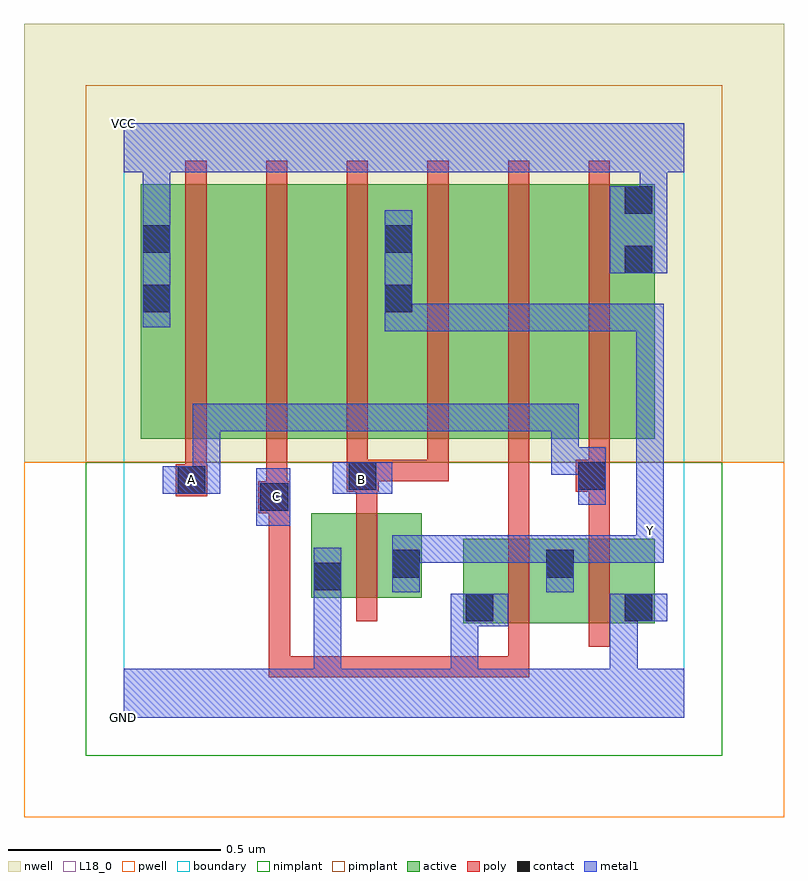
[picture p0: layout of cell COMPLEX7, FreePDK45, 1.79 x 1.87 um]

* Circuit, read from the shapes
.subckt COMPLEX7 A B C GND VCC Y
M1 Y B GND VSUBS nfet w=0.2u l=0.05u
M2 Y C GND VSUBS nfet w=0.2u l=0.05u
M3 GND A Y VSUBS nfet w=0.2u l=0.05u
M4 n1 A VCC n2 pfet w=0.6u l=0.05u
M5 n3 C n1 n2 pfet w=0.6u l=0.05u
M6 Y B n3 n2 pfet w=0.6u l=0.05u
M7 n4 B Y n2 pfet w=0.6u l=0.05u
M8 n5 C n4 n2 pfet w=0.6u l=0.05u
M9 VCC A n5 n2 pfet w=0.6u l=0.05u
.ends

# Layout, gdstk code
import gdstk
lib = gdstk.Library(unit=1e-6, precision=1e-09)
def R(c, l, rs):  # rectangles x0, y0, x1, y1
    for r in rs: c.add(gdstk.rectangle(r[:2], r[2:], *l))
def A(c, l, x, y, w, h, nx, ny, dx, dy):  # array of equal rectangles
    R(c, l, [(x+i*dx, y+j*dy, x+i*dx+w, y+j*dy+h) for i in range(nx) for j in range(ny)])
active = (1, 0)
pwell = (2, 0)
nwell = (3, 0)
nimplant = (4, 0)
pimplant = (5, 0)
poly = (9, 0)
contact = (10, 0)
metal1 = (11, 0)
L18_0 = (18, 0)
boundary = (235, 0)

complex7 = lib.new_cell('COMPLEX7')
R(complex7, active, [(0.8,0.222,0.875,0.422), (0.8,0.222,1.065,0.422), (0.99,0.222,1.25,0.422), (0.99,0.222,1.065,0.4), (1.175,0.222,1.25,0.422), (0.442,0.282,0.517,0.482), (0.442,0.282,0.702,0.482), (0.627,0.282,0.702,0.482), (0.04,0.657,0.115,1.257), (0.04,0.657,0.265,1.257), (0.265,0.657,0.455,1.257), (0.455,0.657,0.685,1.257), (0.61,0.657,0.835,1.257), (0.835,0.657,1.025,1.257), (1.025,0.657,1.25,1.257), (1.175,0.657,1.25,1.257), (0.61,0.707,0.685,1.2)])
R(complex7, pwell, [(-0.235,-0.235,1.555,0.602)])
R(complex7, nwell, [(-0.235,0.602,1.555,1.635)])
R(complex7, nimplant, [(-0.09,-0.09,1.41,0.602)])
R(complex7, pimplant, [(-0.09,0.602,1.41,1.49)])
A(complex7, poly, 0.525, 0.557, 0.05, 0.095, 4, 1, 0.19, 0)
A(complex7, poly, 0.145, 0.602, 0.05, 0.71, 6, 1, 0.19, 0)
R(complex7, poly, [(0.342,0.095,0.392,0.145), (0.342,0.095,0.392,0.145), (0.342,0.095,0.392,0.145), (0.342,0.095,0.392,0.145), (0.342,0.095,0.392,0.145), (0.342,0.095,0.525,0.145), (0.342,0.095,0.392,0.532), (0.475,0.095,0.525,0.145), (0.475,0.095,0.525,0.145), (0.475,0.095,0.525,0.145), (0.475,0.095,0.822,0.145), (0.772,0.095,0.822,0.145), (0.772,0.095,0.955,0.145), (0.905,0.095,0.955,0.145), (0.905,0.095,0.955,0.145), (0.905,0.095,0.955,0.145), (0.905,0.095,0.955,0.217), (0.905,0.167,0.955,0.477), (1.095,0.167,1.145,0.477), (0.547,0.227,0.597,0.537), (0.905,0.427,0.955,0.607), (1.095,0.427,1.145,0.582), (0.317,0.482,0.392,0.557), (0.342,0.482,0.392,0.532), (0.342,0.482,0.392,0.532), (0.547,0.487,0.597,0.582), (0.335,0.507,0.385,0.652), (0.122,0.522,0.197,0.597), (0.525,0.532,0.6,0.607), (1.065,0.532,1.145,0.607), (0.145,0.547,0.195,0.652), (0.55,0.557,0.6,0.607), (0.55,0.557,0.6,0.607), (0.55,0.557,0.765,0.607), (0.715,0.557,0.765,0.607), (0.905,0.557,0.955,0.607)])
R(complex7, contact, [(0.805,0.227,0.87,0.292), (1.18,0.227,1.245,0.292), (0.447,0.3,0.512,0.365), (0.632,0.33,0.697,0.395), (0.995,0.33,1.06,0.395), (0.322,0.487,0.387,0.552), (0.127,0.527,0.192,0.592), (0.53,0.537,0.595,0.602), (1.07,0.537,1.135,0.602), (0.045,0.955,0.11,1.02), (0.615,0.955,0.68,1.02), (1.18,1.047,1.245,1.112), (0.045,1.095,0.11,1.16), (0.615,1.095,0.68,1.16), (1.18,1.187,1.245,1.252)])
R(complex7, metal1, [(0,0,1.32,0.115), (0.447,0.05,0.512,0.115), (0.447,0.05,0.512,0.115), (0.447,0.05,0.512,0.115), (0.447,0.05,0.512,0.115), (0.447,0.05,0.512,0.33), (0.77,0.05,0.835,0.115), (0.77,0.05,0.835,0.115), (0.77,0.05,0.835,0.28), (1.145,0.05,1.21,0.115), (1.145,0.05,1.21,0.115), (1.145,0.05,1.21,0.292), (0.77,0.215,0.835,0.28), (0.77,0.215,0.835,0.28), (0.77,0.215,0.905,0.292), (1.145,0.227,1.21,0.292), (1.145,0.227,1.21,0.292), (1.145,0.227,1.28,0.292), (0.447,0.265,0.512,0.4), (0.632,0.295,0.697,0.43), (0.995,0.295,1.06,0.43), (0.632,0.365,0.697,0.43), (0.632,0.365,0.697,0.43), (0.632,0.365,0.922,0.43), (0.857,0.365,0.922,0.43), (0.857,0.365,0.922,0.43), (0.857,0.365,0.922,0.43), (0.857,0.365,1.06,0.43), (0.995,0.365,1.272,0.43), (1.207,0.365,1.272,0.43), (1.207,0.365,1.272,0.43), (1.207,0.365,1.272,0.437), (1.207,0.372,1.272,0.437), (1.207,0.372,1.272,0.507), (1.207,0.442,1.272,0.975), (0.312,0.452,0.392,0.587), (1.07,0.502,1.135,0.637), (0.092,0.527,0.227,0.592), (0.162,0.527,0.227,0.592), (0.162,0.527,0.227,0.592), (0.162,0.527,0.227,0.74), (0.492,0.527,0.632,0.602), (1.007,0.572,1.072,0.637), (1.007,0.572,1.135,0.637), (1.007,0.572,1.072,0.74), (0.162,0.675,0.227,0.74), (0.162,0.675,0.365,0.74), (0.3,0.675,0.365,0.74), (0.3,0.675,0.365,0.74), (0.3,0.675,0.365,0.74), (0.3,0.675,0.502,0.74), (0.437,0.675,0.502,0.74), (0.437,0.675,0.65,0.74), (0.585,0.675,0.65,0.74), (0.585,0.675,0.65,0.74), (0.585,0.675,0.65,0.74), (0.585,0.675,0.922,0.74), (0.857,0.675,0.922,0.74), (0.857,0.675,0.922,0.74), (0.857,0.675,0.922,0.74), (0.857,0.675,1.072,0.74), (1.007,0.675,1.072,0.74), (0.615,0.91,0.922,0.975), (0.615,0.91,0.68,0.985), (0.857,0.91,0.922,0.975), (0.857,0.91,0.922,0.975), (0.857,0.91,0.922,0.975), (0.857,0.91,1.06,0.975), (0.995,0.91,1.06,0.975), (0.995,0.91,1.272,0.975), (1.207,0.91,1.272,0.975), (1.207,0.91,1.272,0.975), (1.207,0.91,1.272,0.975), (1.207,0.91,1.272,0.975), (1.207,0.91,1.272,0.975), (0.045,0.92,0.11,1.195), (0.615,0.92,0.68,0.985), (0.615,0.92,0.68,1.195), (1.145,1.047,1.28,1.252), (0.045,1.13,0.11,1.35), (1.215,1.187,1.28,1.35), (0,1.285,1.32,1.4)])
R(complex7, L18_0, [(0,0,1.32,0.115), (0.447,0.05,0.512,0.115), (0.447,0.05,0.512,0.115), (0.447,0.05,0.512,0.115), (0.447,0.05,0.512,0.115), (0.447,0.05,0.512,0.33), (0.77,0.05,0.835,0.115), (0.77,0.05,0.835,0.115), (0.77,0.05,0.835,0.28), (1.145,0.05,1.21,0.115), (1.145,0.05,1.21,0.115), (1.145,0.05,1.21,0.292), (0.77,0.215,0.835,0.28), (0.77,0.215,0.835,0.28), (0.77,0.215,0.905,0.292), (1.145,0.227,1.28,0.292), (1.145,0.227,1.21,0.292), (1.145,0.227,1.21,0.292), (0.447,0.265,0.512,0.4), (0.632,0.295,0.697,0.43), (0.995,0.295,1.06,0.43), (0.632,0.365,0.697,0.43), (0.632,0.365,0.697,0.43), (0.632,0.365,0.922,0.43), (0.857,0.365,0.922,0.43), (0.857,0.365,0.922,0.43), (0.857,0.365,0.922,0.43), (0.857,0.365,1.06,0.43), (0.995,0.365,1.272,0.43), (1.207,0.365,1.272,0.43), (1.207,0.365,1.272,0.43), (1.207,0.365,1.272,0.437), (1.207,0.372,1.272,0.437), (1.207,0.372,1.272,0.507), (1.207,0.407,1.272,0.472), (1.207,0.442,1.272,0.975), (0.312,0.452,0.392,0.587), (0.327,0.487,0.392,0.552), (1.07,0.502,1.135,0.637), (0.092,0.527,0.227,0.592), (0.127,0.527,0.192,0.592), (0.162,0.527,0.227,0.592), (0.162,0.527,0.227,0.592), (0.162,0.527,0.227,0.74), (0.492,0.527,0.632,0.602), (0.527,0.527,0.592,0.592), (1.007,0.572,1.072,0.637), (1.007,0.572,1.072,0.74), (1.007,0.572,1.135,0.637), (0.162,0.675,0.227,0.74), (0.162,0.675,0.365,0.74), (0.3,0.675,0.365,0.74), (0.3,0.675,0.365,0.74), (0.3,0.675,0.365,0.74), (0.3,0.675,0.502,0.74), (0.437,0.675,0.502,0.74), (0.437,0.675,0.65,0.74), (0.585,0.675,0.65,0.74), (0.585,0.675,0.65,0.74), (0.585,0.675,0.65,0.74), (0.585,0.675,0.922,0.74), (0.857,0.675,0.922,0.74), (0.857,0.675,0.922,0.74), (0.857,0.675,0.922,0.74), (0.857,0.675,1.072,0.74), (1.007,0.675,1.072,0.74), (0.615,0.91,0.68,0.985), (0.615,0.91,0.922,0.975), (0.857,0.91,0.922,0.975), (0.857,0.91,0.922,0.975), (0.857,0.91,0.922,0.975), (0.857,0.91,1.06,0.975), (0.995,0.91,1.06,0.975), (0.995,0.91,1.272,0.975), (1.207,0.91,1.272,0.975), (1.207,0.91,1.272,0.975), (1.207,0.91,1.272,0.975), (1.207,0.91,1.272,0.975), (1.207,0.91,1.272,0.975), (0.045,0.92,0.11,1.195), (0.615,0.92,0.68,1.195), (0.615,0.92,0.68,0.985), (1.145,1.047,1.28,1.252), (0.045,1.13,0.11,1.35), (1.215,1.187,1.28,1.35), (0,1.285,1.32,1.4)])
R(complex7, boundary, [(0,0,1.32,1.4)])
complex7.add(gdstk.Label('A', (0.16,0.56), layer=11, texttype=0))
complex7.add(gdstk.Label('B', (0.56,0.56), layer=11, texttype=0))
complex7.add(gdstk.Label('C', (0.36,0.52), layer=11, texttype=0))
complex7.add(gdstk.Label('Y', (1.24,0.44), layer=11, texttype=0))
complex7.add(gdstk.Label('VCC', (0,1.4), layer=11, texttype=0))
complex7.add(gdstk.Label('GND', (0,0), layer=11, texttype=0))

lib.write_gds('COMPLEX7.gds')
